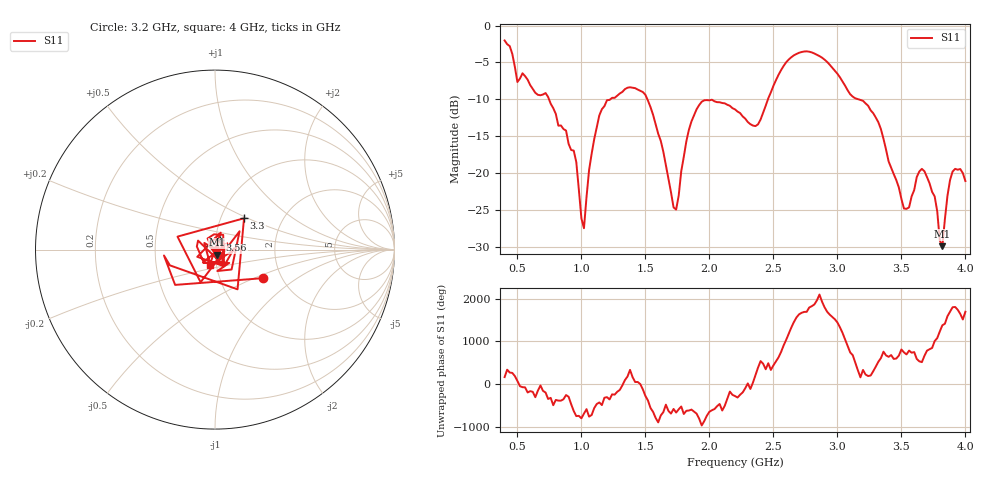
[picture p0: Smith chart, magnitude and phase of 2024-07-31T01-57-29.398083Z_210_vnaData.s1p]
!Created with skrf (http://scikit-rf.org).
# Hz S RI R 50.0
!freq ReS11 ImS11
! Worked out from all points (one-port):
!   181 points, 400 MHz to 4 GHz, reference 50 ohm
!   lowest |S11| = -29.9 dB at 3.82 GHz (marker M1), VSWR 1.07, Z = 51.3 - j2.99 ohm
!   |S11| at or under -10 dB: 746.9 MHz to 1.226 GHz (478.7 MHz wide, 48.5 % of centre); 1.516 GHz to 2.457 GHz (941.6 MHz wide, 47.4 % of centre); 3.165 GHz to end of sweep
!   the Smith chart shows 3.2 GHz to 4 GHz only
!   S11 on the Smith chart (normalised r, x): 3.2 GHz: 1.60, -0.56; 3.3 GHz: 1.29, +0.48; 3.56 GHz: 1.05, +0.11; 4 GHz: 0.93, -0.16
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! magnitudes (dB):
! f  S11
! 400 MHz  -2.0
! 500 MHz  -7.7
! 720 MHz  -9.1
! 860 MHz  -14.0
! 960 MHz  -18.5
! 1.02 GHz  -27.5
! 1.06 GHz  -19.6
! 1.14 GHz  -12.2
! 1.3 GHz  -9.2
! 1.5 GHz  -9.4
! 1.62 GHz  -15.6
! 1.72 GHz  -24.7
! 1.76 GHz  -23.1
! 1.84 GHz  -14.1
! 1.92 GHz  -10.8
! 2.2 GHz  -11.4
! 2.38 GHz  -13.4
! 2.66 GHz  -4.0
! 2.88 GHz  -4.4
! 3.1 GHz  -9.3
! 3.2 GHz  -10.2
! 3.3 GHz  -12.5
! 3.56 GHz  -24.6
! 3.68 GHz  -19.8
! 3.76 GHz  -23.2
! 3.82 GHz  -29.9
! 3.9 GHz  -19.8
! 4 GHz  -21.1
